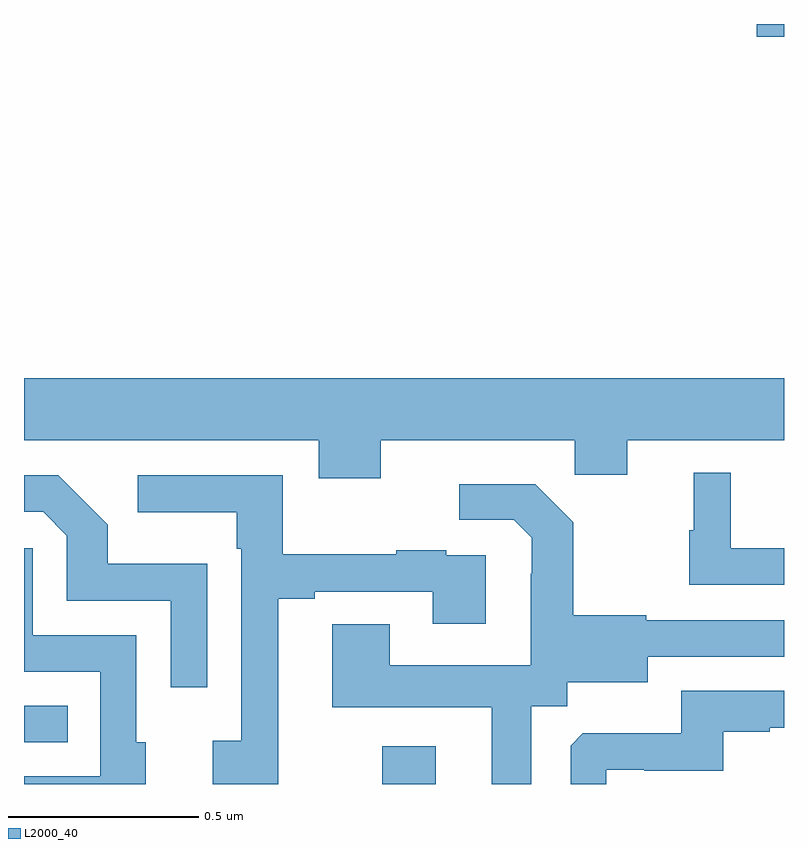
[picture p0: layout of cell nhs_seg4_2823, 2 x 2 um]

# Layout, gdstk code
import gdstk
lib = gdstk.Library(unit=1e-6, precision=1e-09)
def R(c, l, rs):  # rectangles x0, y0, x1, y1
    for r in rs: c.add(gdstk.rectangle(r[:2], r[2:], *l))
def P(c, l, *ps):  # polygons
    for p in ps: c.add(gdstk.Polygon(p, *l))
L2000_40 = (2000, 40)

nhs_seg4_2823 = lib.new_cell('nhs_seg4_2823')
R(nhs_seg4_2823, L2000_40, [(145.943,811.9,146.083,811.999), (145,812.01,145.115,812.106), (146.928,813.866,147,813.9)])
P(nhs_seg4_2823, L2000_40, [(145.939,812.804),(146.449,812.804),(146.449,812.714),(146.587,812.714),(146.587,812.804),(147,812.804),(147,812.968),(145,812.968),(145,812.804),(145.775,812.804),(145.775,812.705),(145.939,812.705)],
  [(147,812.52),(146.86,812.52),(146.86,812.719),(146.762,812.719),(146.762,812.568),(146.751,812.568),(146.751,812.424),(147,812.424)],
  [(145.482,812.479),(145.221,812.479),(145.221,812.582),(145.09,812.712),(145,812.712),(145,812.616),(145.05,812.616),(145.113,812.553),(145.113,812.382),(145.386,812.382),(145.386,812.154),(145.482,812.154)],
  [(145.669,812.388),(145.765,812.388),(145.765,812.406),(146.075,812.406),(146.075,812.322),(146.215,812.322),(146.215,812.502),(146.111,812.502),(146.111,812.515),(145.979,812.515),(145.979,812.504),(145.681,812.504),(145.681,812.712),(145.299,812.712),(145.299,812.615),(145.56,812.615),(145.56,812.519),(145.572,812.519),(145.572,812.014),(145.497,812.014),(145.497,811.9),(145.669,811.9)],
  [(146.335,812.104),(146.43,812.104),(146.43,812.168),(146.641,812.168),(146.641,812.235),(147,812.235),(147,812.331),(146.637,812.331),(146.637,812.344),(146.445,812.344),(146.445,812.589),(146.345,812.689),(146.145,812.689),(146.145,812.595),(146.289,812.595),(146.336,812.548),(146.336,812.453),(146.334,812.453),(146.334,812.212),(145.963,812.212),(145.963,812.321),(145.811,812.321),(145.811,812.102),(146.231,812.102),(146.231,811.9),(146.335,811.9)],
  [(145.321,812.01),(145.296,812.01),(145.296,812.292),(145.023,812.292),(145.023,812.521),(145,812.521),(145,812.196),(145.2,812.196),(145.2,811.92),(145,811.92),(145,811.9),(145.321,811.9)],
  [(146.532,811.938),(146.632,811.938),(146.632,811.935),(146.84,811.935),(146.84,812.037),(146.963,812.037),(146.963,812.048),(147,812.048),(147,812.145),(146.73,812.145),(146.73,812.033),(146.471,812.033),(146.439,812.001),(146.439,811.9),(146.532,811.9)])

lib.write_gds('nhs_seg4_2823.gds')
